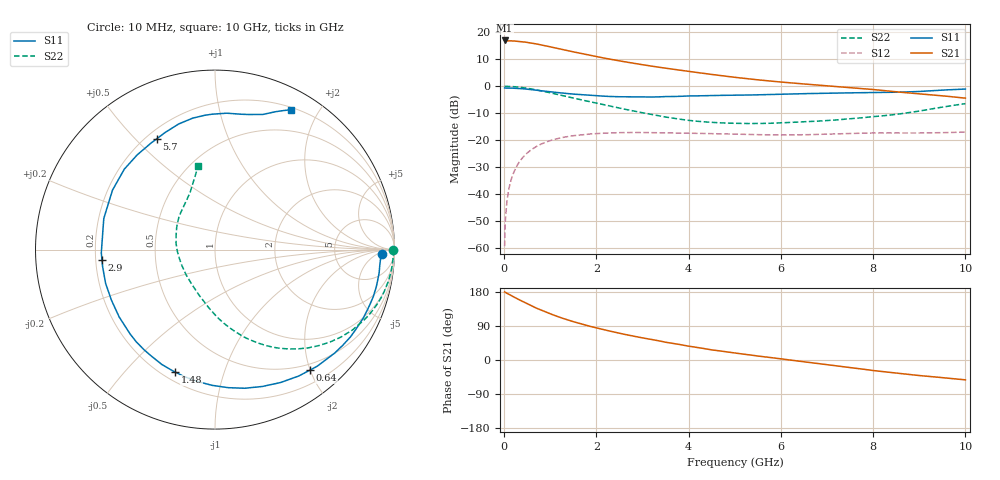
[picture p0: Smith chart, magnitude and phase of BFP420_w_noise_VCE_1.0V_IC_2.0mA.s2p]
! Infineon Technologies  Discrete & RF Semiconductors
! BFP420
! VCE =  1.0 V,  IC =  2.0 mA
! Common Emitter S-Parameters:  Jan 2016
# GHz  S  MA  R  50
!  f  S11  S21  S12  S22
! GHz  MAG  ANG  MAG  ANG  MAG  ANG  MAG  ANG
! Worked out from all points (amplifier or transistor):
!   233 points, 10 MHz to 10 GHz, reference 50 ohm
!   highest |S21| = 16.9 dB at 10 MHz (marker M1)
!   |S21| within 3 dB of that: start of sweep to 1.171 GHz
!   unconditionally stable (mu >= 1): 3.88 GHz to end of sweep
!   at 200 MHz: K = 0.03, MSG = 24.5 dB, |S12| = -32.3 dB
!   at 1.74 GHz: K = 0.39, MSG = 14.8 dB, |S12| = -17.9 dB
!   at 10 GHz: K = 1.21, MAG = 3.5 dB, |S12| = -17.0 dB
!   lowest NFmin = 0.53 dB at 900 MHz
!   S11 on the Smith chart (normalised r, x): 10 MHz: 24, -9; 640 MHz: 0.40, -1.99; 1.48 GHz: 0.25, -0.70; 2.9 GHz: 0.23, -0.04; 5.7 GHz: 0.24, +0.58; 10 GHz: 0.23, +1.65
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0.01  0.9288 -1.5  7.013 179.4  0.0011 94.5  0.9924 -0.1
0.025  0.9252 -2.2  6.843 178.7  0.0031 84.5  0.9935 -1.3
0.05  0.9224 -4.0  6.879 176.8  0.006 86.8  0.9933 -2.6
0.15  0.9229 -12.4  6.905 170.3  0.0184 82.8  0.987 -8.0
0.3  0.9098 -24.8  6.775 160.6  0.0364 75.5  0.965 -15.8
0.4  0.8977 -32.9  6.631 154.4  0.0476 70.7  0.9429 -20.8
0.64  0.8546 -51.8  6.168 140.2  0.0715 59.7  0.8738 -32.0
0.8  0.8259 -63.7  5.804 131.5  0.0849 53.2  0.822 -38.8
1  0.79 -77.9  5.351 121.7  0.0987 45.8  0.7549 -46.5
1.2  0.7567 -91.1  4.906 112.8  0.1095 39.3  0.6905 -53.3
1.48  0.7173 -108.0  4.351 101.9  0.1208 31.4  0.6091 -61.6
1.68  0.6946 -119.2  4.007 94.8  0.1265 26.5  0.5577 -66.9
1.9  0.6753 -130.7  3.664 87.6  0.1314 21.6  0.5068 -72.3
2.2  0.6527 -144.9  3.271 78.8  0.1359 15.8  0.4469 -79.0
2.9  0.6324 -174.6  2.573 60.7  0.1392 4.8  0.3356 -94.4
3.4  0.6369 167.8  2.214 49.5  0.1378 -1.1  0.2787 -106.3
4.5  0.6755 138.4  1.65 26.7  0.1326 -10.4  0.2146 -137.8
5.1  0.6836 127.7  1.428 16.9  0.1289 -13.2  0.2049 -153.6
5.7  0.6973 117.8  1.262 7.6  0.126 -14.9  0.2055 -169.6
6.8  0.736 102.2  1.049 -9.3  0.1282 -16.8  0.2258 163.8
8.4  0.7686 78.8  0.802 -33.4  0.1363 -24.2  0.2945 126.8
10  0.8857 61.6  0.601 -52.4  0.1416 -28.7  0.4761 101.3
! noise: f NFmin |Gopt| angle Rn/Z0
0.9  0.53  0.47  33  0.22
1.8  1.03  0.29  77  0.17
2.4  1.13  0.31  102  0.16
3  1.32  0.31  136  0.12
4  1.57  0.37  -168  0.1
5  1.96  0.42  -129  0.28
6  2.72  0.51  -111  0.37
